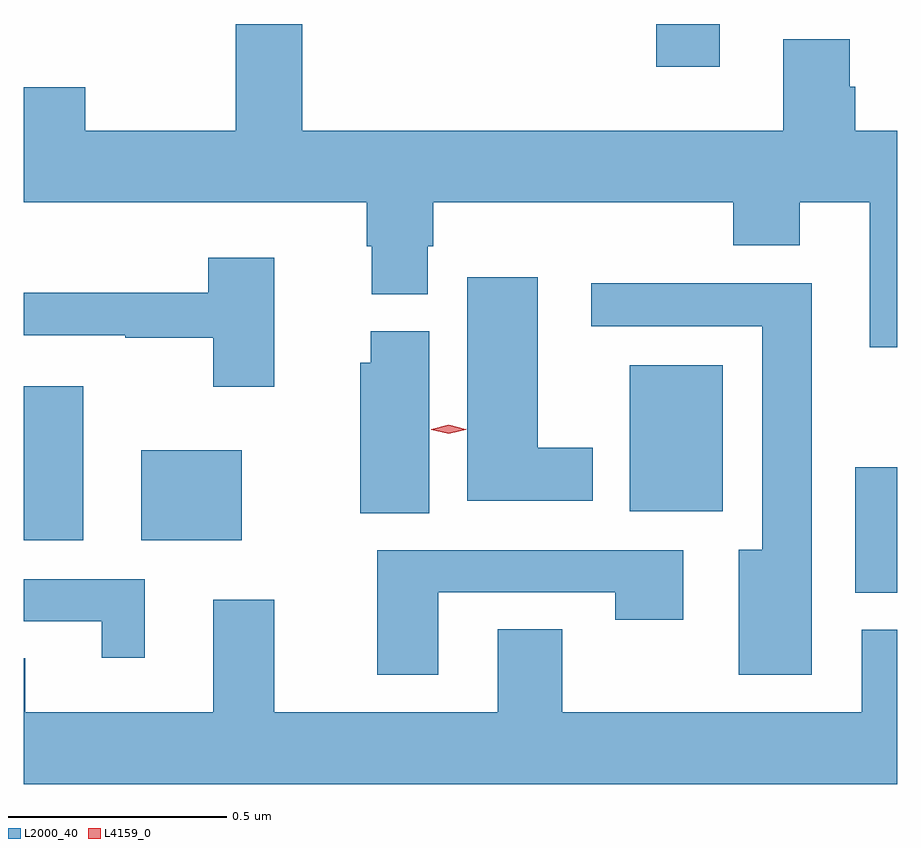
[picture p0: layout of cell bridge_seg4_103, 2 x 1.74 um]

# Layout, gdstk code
import gdstk
lib = gdstk.Library(unit=1e-6, precision=1e-09)
def R(c, l, rs):  # rectangles x0, y0, x1, y1
    for r in rs: c.add(gdstk.rectangle(r[:2], r[2:], *l))
def P(c, l, *ps):  # polygons
    for p in ps: c.add(gdstk.Polygon(p, *l))
L2000_40 = (2000, 40)
L4159_0 = (4159, 0)

bridge_seg4_103 = lib.new_cell('bridge_seg4_103')
R(bridge_seg4_103, L2000_40, [(556.526,785.27,556.622,785.557), (554.622,785.39,554.758,785.743), (554.891,785.39,555.121,785.596), (556.01,785.456,556.222,785.791), (556.07,786.474,556.216,786.572)])
P(bridge_seg4_103, L2000_40, [(556.622,786.328),(556.526,786.328),(556.526,786.428),(556.513,786.428),(556.513,786.537),(556.361,786.537),(556.361,786.328),(555.26,786.328),(555.26,786.572),(555.107,786.572),(555.107,786.328),(554.763,786.328),(554.763,786.427),(554.622,786.427),(554.622,786.164),(555.407,786.164),(555.407,786.063),(555.419,786.063),(555.419,785.953),(555.547,785.953),(555.547,786.063),(555.56,786.063),(555.56,786.164),(556.247,786.164),(556.247,786.065),(556.399,786.065),(556.399,786.164),(556.559,786.164),(556.559,785.832),(556.622,785.832)],
  [(555.196,786.037),(555.044,786.037),(555.044,785.957),(554.622,785.957),(554.622,785.859),(554.854,785.859),(554.854,785.854),(555.056,785.854),(555.056,785.742),(555.196,785.742)],
  [(555.925,785.602),(555.799,785.602),(555.799,785.992),(555.638,785.992),(555.638,785.48),(555.925,785.48)],
  [(556.426,785.978),(555.921,785.978),(555.921,785.88),(556.313,785.88),(556.313,785.368),(556.259,785.368),(556.259,785.082),(556.426,785.082)],
  [(555.55,785.868),(555.416,785.868),(555.416,785.796),(555.392,785.796),(555.392,785.452),(555.55,785.452)],
  [(555.571,785.271),(555.976,785.271),(555.976,785.208),(556.132,785.208),(556.132,785.367),(555.431,785.367),(555.431,785.082),(555.571,785.082)],
  [(554.899,785.301),(554.622,785.301),(554.622,785.205),(554.801,785.205),(554.801,785.121),(554.899,785.121)],
  [(556.622,785.185),(556.541,785.185),(556.541,784.996),(555.855,784.996),(555.855,785.186),(555.707,785.186),(555.707,784.996),(555.196,784.996),(555.196,785.254),(555.056,785.254),(555.056,784.996),(554.626,784.996),(554.626,785.12),(554.622,785.12),(554.622,784.832),(556.622,784.832)])
P(bridge_seg4_103, L4159_0, [(555.595,785.634),(555.555,785.643),(555.555,785.644),(555.555,785.644),(555.595,785.654),(555.634,785.644),(555.635,785.644),(555.634,785.643)])

lib.write_gds('bridge_seg4_103.gds')
